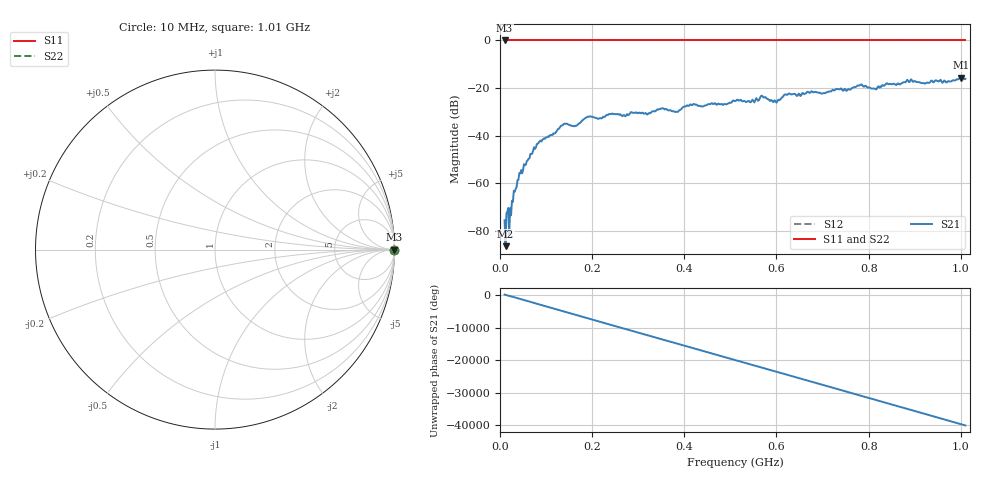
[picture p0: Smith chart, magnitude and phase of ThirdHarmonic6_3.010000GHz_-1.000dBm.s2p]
! 8/17/2025 8:38:00 AM
! C:\ANRITSUVNA\TEMP\TEMP.S2P
! CHANNEL.1
! TR.MEASUREMENT
! RAW.DATA
! RF.CORRECTION.OFF
! AVERAGING.OFF
! IF.BANDWIDTH: 5KHZ
! SWEEPTYPE:  FREQ.SWEEP(Linear)
! Reference Plane Port Info
! PORT:  PORT1  PORT2
! DISTANCE:  0  m  0  m
! TIME:  0  s  0  s
! PHASE.OFFSET:  0  deg.  0  deg.
! LOSS:  0  dB  0  dB
! REF.LOSS:  0  dB  0  dB
! REF.FREQ:  0  Hz  0  Hz
! Power Info
! POWER:  -20  dBm  -20  dBm
! EFF.POWER:  -20  dBm  -20  dBm
! SOURCE.ATTEN:  0  dB  0  dB
! TEST.ATTEN:  0  dB  0  dB
# GHZ S RI R 50.0
! FREQ.GHZ  S11RE  S11IM  S21RE  S21IM  S12RE  S12IM  S22RE  S22IM
!; PortSelection: Port_12
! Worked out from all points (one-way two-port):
!   501 points, 10 MHz to 1.01 GHz, reference 50 ohm
!   highest |S21| = -15.62 dB at 1 GHz (marker M1); lowest = -86.5 dB at 12 MHz (marker M2)
!   lowest |S11| = 0.0 dB at 10 MHz (marker M3)
!   |S11| at or under -10 dB: nowhere
!   |S22| runs from 0.0 to 0.0 dB; largest |S21 - S12| = 1.2
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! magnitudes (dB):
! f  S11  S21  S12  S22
! 10 MHz  0.0  -75.6  0.0  0.0
! 12 MHz  0.0  -86.5  0.0  0.0
! 24 MHz  0.0  -73.5  0.0  0.0
! 30 MHz  0.0  -63.2  0.0  0.0
! 42 MHz  0.0  -55.7  0.0  0.0
! 84 MHz  0.0  -43.0  0.0  0.0
! 136 MHz  0.0  -35.7  0.0  0.0
! 162 MHz  0.0  -36.1  0.0  0.0
! 178 MHz  0.0  -33.8  0.0  0.0
! 344 MHz  0.0  -29.1  0.0  0.0
! 382 MHz  0.0  -30.1  0.0  0.0
! 416 MHz  0.0  -27.2  0.0  0.0
! 510 MHz  0.0  -25.5  0.0  0.0
! 570 MHz  0.0  -23.5  0.0  0.0
! 596 MHz  0.0  -25.2  0.0  0.0
! 622 MHz  0.0  -22.9  0.0  0.0
! 678 MHz  0.0  -21.6  0.0  0.0
! 782 MHz  0.0  -18.7  0.0  0.0
! 814 MHz  0.0  -20.4  0.0  0.0
! 844 MHz  0.0  -18.4  0.0  0.0
! 1 GHz  0.0  -15.6  0.0  0.0
! 1.01 GHz  0.0  -16.1  0.0  0.0
